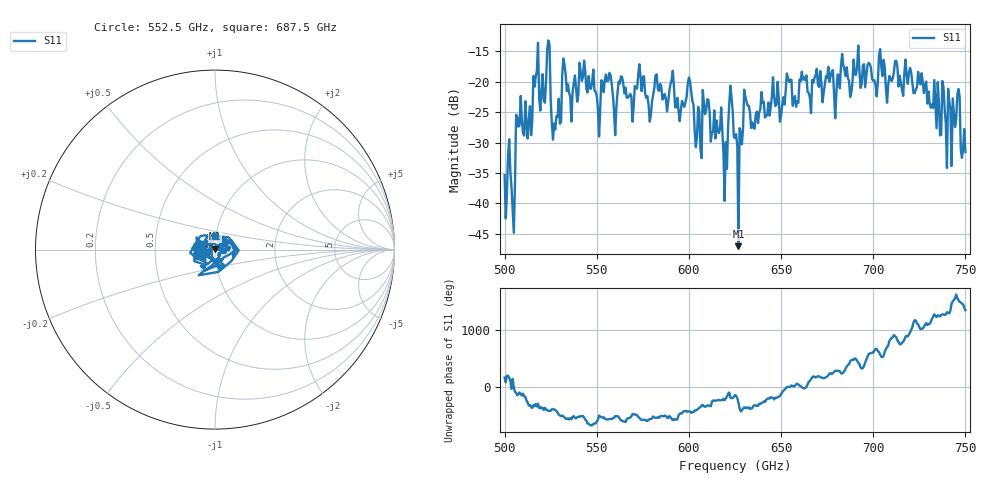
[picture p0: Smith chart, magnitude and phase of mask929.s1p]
!Created with skrf (http://scikit-rf.org).
# GHz S MA R 50.0
!freq magS11 angS11
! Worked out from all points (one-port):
!   401 points, 500 GHz to 750 GHz, reference 50 ohm
!   lowest |S11| = -47.0 dB at 626.9 GHz (marker M1), VSWR 1.01, Z = 50 + j0.445 ohm
!   |S11| at or under -10 dB: start of sweep to end of sweep
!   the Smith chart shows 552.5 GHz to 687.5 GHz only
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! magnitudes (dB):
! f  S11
! 500 GHz  -35.4
! 504.4 GHz  -41.3
! 507.5 GHz  -27.4
! 513.8 GHz  -24.0
! 516.9 GHz  -19.2
! 520.6 GHz  -18.7
! 523.8 GHz  -13.2
! 526.9 GHz  -26.9
! 531.2 GHz  -18.9
! 550.6 GHz  -24.5
! 556.2 GHz  -19.8
! 560 GHz  -28.8
! 562.5 GHz  -20.3
! 593.8 GHz  -22.6
! 600.6 GHz  -19.9
! 603.1 GHz  -28.1
! 608.8 GHz  -25.3
! 619.4 GHz  -39.6
! 622.5 GHz  -20.6
! 625 GHz  -29.2
! 626.9 GHz  -47.0
! 631.2 GHz  -23.2
! 656.2 GHz  -24.0
! 687.5 GHz  -22.5
! 718.8 GHz  -20.3
! 741.2 GHz  -23.2
! 745.6 GHz  -22.1
! 750 GHz  -31.6
